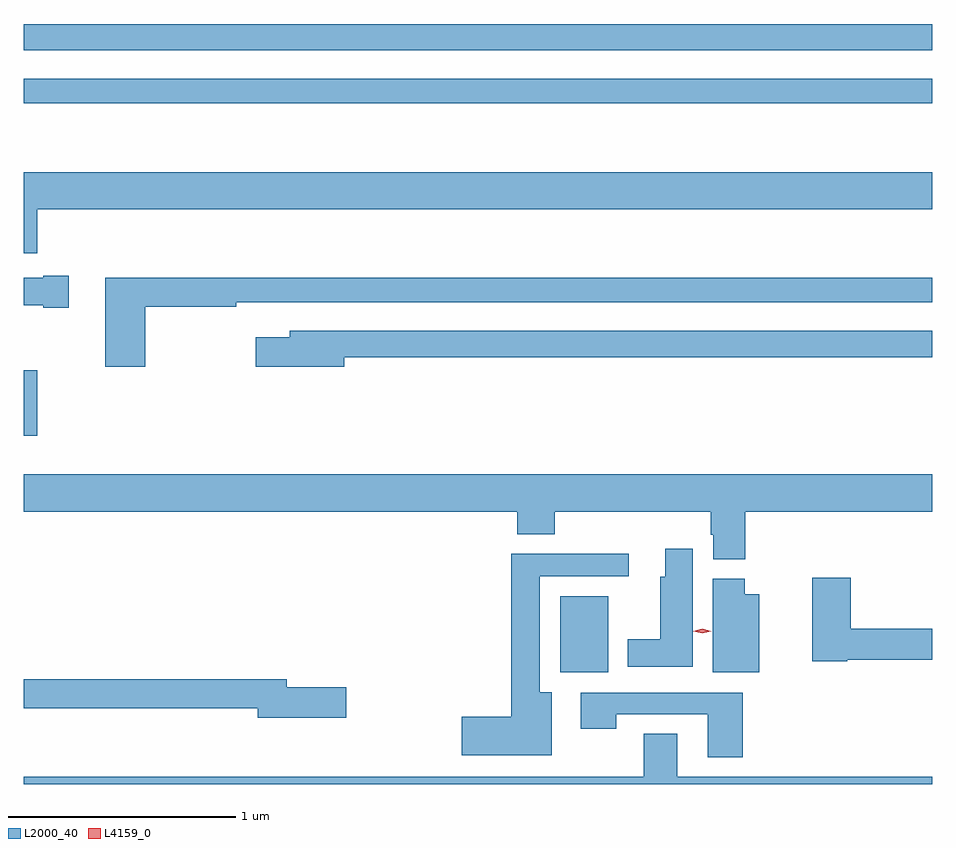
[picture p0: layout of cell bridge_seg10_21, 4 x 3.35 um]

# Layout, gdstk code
import gdstk
lib = gdstk.Library(unit=1e-6, precision=1e-09)
def R(c, l, rs):  # rectangles x0, y0, x1, y1
    for r in rs: c.add(gdstk.rectangle(r[:2], r[2:], *l))
def P(c, l, *ps):  # polygons
    for p in ps: c.add(gdstk.Polygon(p, *l))
L2000_40 = (2000, 40)
L4159_0 = (4159, 0)

bridge_seg10_21 = lib.new_cell('bridge_seg10_21')
R(bridge_seg10_21, L2000_40, [(1012.718,1248.992,1012.93,1249.327), (1010.356,1250.034,1010.414,1250.323), (1010.356,1251.498,1014.356,1251.606), (1010.356,1251.732,1014.356,1251.848)])
P(bridge_seg10_21, L2000_40, [(1010.414,1251.032),(1014.356,1251.032),(1014.356,1251.196),(1010.356,1251.196),(1010.356,1250.838),(1010.414,1250.838)],
  [(1010.554,1250.739),(1010.441,1250.739),(1010.441,1250.731),(1010.356,1250.731),(1010.356,1250.609),(1010.441,1250.609),(1010.441,1250.597),(1010.554,1250.597)],
  [(1010.891,1250.602),(1011.29,1250.602),(1011.29,1250.622),(1014.356,1250.622),(1014.356,1250.731),(1010.713,1250.731),(1010.713,1250.337),(1010.891,1250.337)],
  [(1011.766,1250.38),(1014.356,1250.38),(1014.356,1250.496),(1011.527,1250.496),(1011.527,1250.467),(1011.378,1250.467),(1011.378,1250.338),(1011.766,1250.338)],
  [(1013.534,1249.7),(1014.356,1249.7),(1014.356,1249.864),(1010.356,1249.864),(1010.356,1249.7),(1012.529,1249.7),(1012.529,1249.601),(1012.694,1249.601),(1012.694,1249.7),(1013.381,1249.7),(1013.381,1249.599),(1013.393,1249.599),(1013.393,1249.489),(1013.534,1249.489)],
  [(1013.302,1249.537),(1013.18,1249.537),(1013.18,1249.413),(1013.159,1249.413),(1013.159,1249.138),(1013.015,1249.138),(1013.015,1249.016),(1013.302,1249.016)],
  [(1012.681,1248.904),(1012.627,1248.904),(1012.627,1249.416),(1013.02,1249.416),(1013.02,1249.514),(1012.502,1249.514),(1012.502,1248.797),(1012.284,1248.797),(1012.284,1248.626),(1012.681,1248.626)],
  [(1013.982,1249.048),(1014.356,1249.048),(1014.356,1249.184),(1013.999,1249.184),(1013.999,1249.408),(1013.828,1249.408),(1013.828,1249.04),(1013.982,1249.04)],
  [(1013.596,1249.336),(1013.532,1249.336),(1013.532,1249.404),(1013.39,1249.404),(1013.39,1248.992),(1013.596,1248.992)],
  [(1011.775,1248.926),(1011.514,1248.926),(1011.514,1248.962),(1010.356,1248.962),(1010.356,1248.834),(1011.386,1248.834),(1011.386,1248.791),(1011.775,1248.791)],
  [(1013.522,1248.903),(1012.809,1248.903),(1012.809,1248.744),(1012.965,1248.744),(1012.965,1248.807),(1013.369,1248.807),(1013.369,1248.618),(1013.522,1248.618)],
  [(1014.356,1248.532),(1013.233,1248.532),(1013.233,1248.722),(1013.086,1248.722),(1013.086,1248.532),(1010.356,1248.532),(1010.356,1248.5),(1014.356,1248.5)])
P(bridge_seg10_21, L4159_0, [(1013.344,1249.163),(1013.305,1249.173),(1013.305,1249.173),(1013.305,1249.173),(1013.344,1249.183),(1013.383,1249.173),(1013.384,1249.173),(1013.383,1249.173)])

lib.write_gds('bridge_seg10_21.gds')
